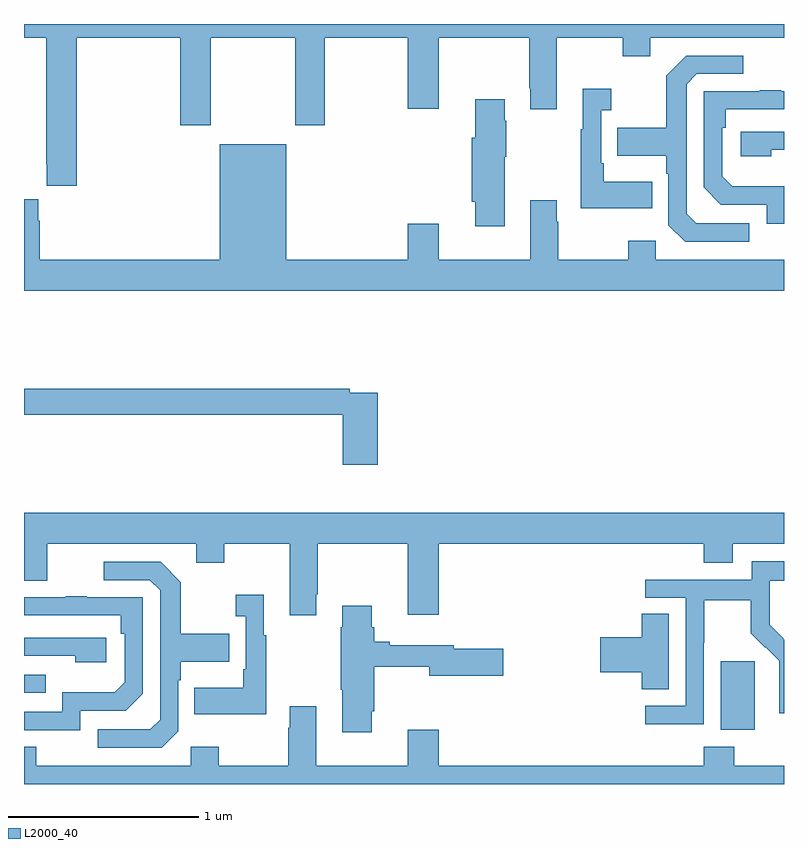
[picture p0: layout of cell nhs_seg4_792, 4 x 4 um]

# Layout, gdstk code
import gdstk
lib = gdstk.Library(unit=1e-6, precision=1e-09)
def R(c, l, rs):  # rectangles x0, y0, x1, y1
    for r in rs: c.add(gdstk.rectangle(r[:2], r[2:], *l))
def P(c, l, *ps):  # polygons
    for p in ps: c.add(gdstk.Polygon(p, *l))
L2000_40 = (2000, 40)

nhs_seg4_792 = lib.new_cell('nhs_seg4_792')
R(nhs_seg4_792, L2000_40, [(154.667,785.186,154.846,785.547), (151,785.379,151.115,785.475)])
P(nhs_seg4_792, L2000_40, [(151.277,788.828),(151.823,788.828),(151.823,788.367),(151.983,788.367),(151.983,788.828),(152.428,788.828),(152.428,788.367),(152.583,788.367),(152.583,788.828),(153.02,788.828),(153.02,788.454),(153.184,788.454),(153.184,788.828),(153.658,788.828),(153.658,788.563),(153.665,788.563),(153.665,788.451),(153.805,788.451),(153.805,788.828),(154.15,788.828),(154.15,788.729),(154.297,788.729),(154.297,788.828),(155,788.828),(155,788.9),(151,788.9),(151,788.828),(151.117,788.828),(151.117,788.161),(151.121,788.161),(151.121,788.049),(151.277,788.049)],
  [(154.816,787.851),(154.539,787.851),(154.488,787.902),(154.488,788.583),(154.542,788.637),(154.786,788.637),(154.786,788.733),(154.485,788.733),(154.38,788.627),(154.38,788.355),(154.123,788.355),(154.123,788.207),(154.38,788.207),(154.38,788.111),(154.392,788.111),(154.392,787.842),(154.479,787.755),(154.816,787.755)],
  [(154.307,788.071),(154.051,788.071),(154.051,788.167),(154.038,788.167),(154.038,788.447),(154.09,788.447),(154.09,788.56),(153.941,788.56),(153.941,788.347),(153.93,788.347),(153.93,787.931),(154.307,787.931)],
  [(155,788.047),(154.727,788.047),(154.674,788.1),(154.674,788.354),(154.694,788.354),(154.694,788.451),(155,788.451),(155,788.547),(154.985,788.547),(154.985,788.552),(154.873,788.552),(154.873,788.547),(154.578,788.547),(154.578,788.04),(154.668,787.95),(154.908,787.95),(154.908,787.848),(155,787.848)],
  [(153.529,788.201),(153.537,788.201),(153.537,788.39),(153.529,788.39),(153.529,788.503),(153.374,788.503),(153.374,788.301),(153.356,788.301),(153.356,787.965),(153.374,787.965),(153.374,787.836),(153.529,787.836)],
  [(154.934,788.238),(155,788.238),(155,788.334),(154.773,788.334),(154.773,788.204),(154.934,788.204)],
  [(155,787.66),(154.326,787.66),(154.326,787.759),(154.18,787.759),(154.18,787.66),(153.813,787.66),(153.813,787.859),(153.805,787.859),(153.805,787.972),(153.665,787.972),(153.665,787.66),(153.184,787.66),(153.184,787.849),(153.02,787.849),(153.02,787.66),(152.38,787.66),(152.38,788.266),(152.03,788.266),(152.03,787.66),(151.082,787.66),(151.082,787.865),(151.075,787.865),(151.075,787.978),(151,787.978),(151,787.496),(155,787.496)],
  [(152.861,786.96),(152.714,786.96),(152.714,786.98),(151,786.98),(151,786.844),(152.678,786.844),(152.678,786.579),(152.861,786.579)],
  [(152.539,785.899),(152.547,785.899),(152.547,786.164),(153.02,786.164),(153.02,785.79),(153.184,785.79),(153.184,786.164),(154.577,786.164),(154.577,786.065),(154.729,786.065),(154.729,786.164),(155,786.164),(155,786.328),(151,786.328),(151,785.97),(151.123,785.97),(151.123,786.164),(151.907,786.164),(151.907,786.065),(152.055,786.065),(152.055,786.164),(152.399,786.164),(152.399,785.787),(152.539,785.787)],
  [(154.578,785.644),(154.581,785.644),(154.581,785.868),(154.825,785.868),(154.825,785.693),(154.902,785.616),(154.905,785.619),(154.976,785.549),(154.976,785.426),(154.974,785.426),(154.974,785.272),(155,785.272),(155,785.66),(154.997,785.663),(154.998,785.664),(154.924,785.738),(154.924,785.835),(154.926,785.835),(154.926,785.969),(155,785.969),(155,786.073),(154.83,786.073),(154.83,785.976),(154.269,785.976),(154.269,785.88),(154.482,785.88),(154.482,785.313),(154.269,785.313),(154.269,785.215),(154.578,785.215)],
  [(151.812,785.178),(151.812,785.447),(151.825,785.447),(151.825,785.543),(152.081,785.543),(152.081,785.691),(151.825,785.691),(151.825,785.963),(151.719,786.069),(151.419,786.069),(151.419,785.973),(151.662,785.973),(151.716,785.919),(151.716,785.238),(151.665,785.187),(151.389,785.187),(151.389,785.091),(151.725,785.091)],
  [(152.275,785.683),(152.263,785.683),(152.263,785.896),(152.115,785.896),(152.115,785.783),(152.166,785.783),(152.166,785.503),(152.154,785.503),(152.154,785.407),(151.897,785.407),(151.897,785.267),(152.275,785.267)],
  [(151.296,785.286),(151.536,785.286),(151.626,785.376),(151.626,785.883),(151.331,785.883),(151.331,785.888),(151.219,785.888),(151.219,785.883),(151,785.883),(151,785.787),(151.51,785.787),(151.51,785.69),(151.53,785.69),(151.53,785.436),(151.477,785.383),(151.2,785.383),(151.2,785.28),(151,785.28),(151,785.184),(151.296,785.184)],
  [(152.83,785.284),(152.843,785.284),(152.843,785.516),(153.134,785.516),(153.134,785.47),(153.523,785.47),(153.523,785.612),(153.262,785.612),(153.262,785.629),(152.926,785.629),(152.926,785.648),(152.843,785.648),(152.843,785.726),(152.83,785.726),(152.83,785.839),(152.675,785.839),(152.675,785.726),(152.668,785.726),(152.668,785.395),(152.675,785.395),(152.675,785.172),(152.83,785.172)],
  [(154.393,785.795),(154.25,785.795),(154.25,785.672),(154.032,785.672),(154.032,785.489),(154.25,785.489),(154.25,785.398),(154.393,785.398)],
  [(151.432,785.67),(151,785.67),(151,785.574),(151.271,785.574),(151.271,785.54),(151.432,785.54)],
  [(155,784.996),(154.737,784.996),(154.737,785.095),(154.577,785.095),(154.577,784.996),(153.184,784.996),(153.184,785.185),(153.02,785.185),(153.02,784.996),(152.539,784.996),(152.539,785.308),(152.399,785.308),(152.399,785.195),(152.392,785.195),(152.392,784.996),(152.025,784.996),(152.025,785.095),(151.878,785.095),(151.878,784.996),(151.065,784.996),(151.065,785.095),(151,785.095),(151,784.9),(155,784.9)])

lib.write_gds('nhs_seg4_792.gds')
